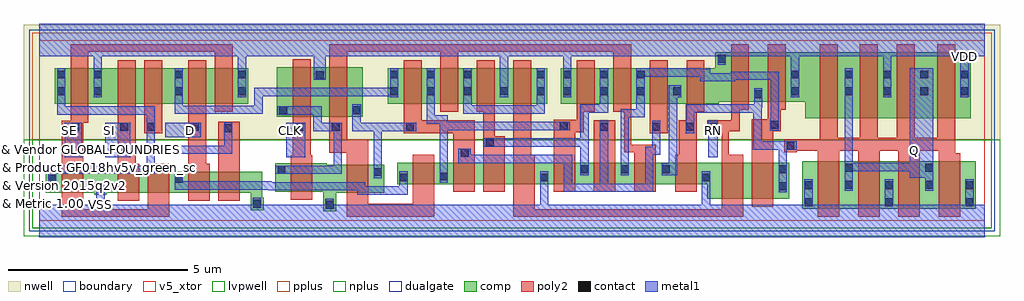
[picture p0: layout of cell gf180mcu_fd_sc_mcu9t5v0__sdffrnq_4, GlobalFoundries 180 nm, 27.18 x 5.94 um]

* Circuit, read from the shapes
.subckt gf180mcu_fd_sc_mcu9t5v0__sdffrnq_4 CLK D Q RN SE SI VDD VSS
XM1 VSS SE n1 VSUBS nfet_05v0 w=0.59u l=0.6u
XM2 n2 SI VSS VSUBS nfet_05v0 w=0.59u l=0.6u
XM3 n3 SE n2 VSUBS nfet_05v0 w=0.59u l=0.6u
XM4 n4 D n3 VSUBS nfet_05v0 w=0.59u l=0.6u
XM5 VSS n1 n4 VSUBS nfet_05v0 w=0.59u l=0.6u
XM6 VSS CLK n5 VSUBS nfet_05v0 w=0.79u l=0.6u
XM7 n6 n5 VSS VSUBS nfet_05v0 w=0.79u l=0.6u
XM8 n7 n5 n3 VSUBS nfet_05v0 w=0.59u l=0.6u
XM9 n8 n6 n7 VSUBS nfet_05v0 w=0.59u l=0.6u
XM10 n9 n10 n8 VSUBS nfet_05v0 w=0.59u l=0.6u
XM11 VSS RN n9 VSUBS nfet_05v0 w=0.59u l=0.6u
XM12 n10 n7 VSS VSUBS nfet_05v0 w=0.59u l=0.6u
XM13 n11 n6 n10 VSUBS nfet_05v0 w=0.59u l=0.6u
XM14 n12 n5 n11 VSUBS nfet_05v0 w=0.59u l=0.6u
XM15 VSS n13 n12 VSUBS nfet_05v0 w=0.59u l=0.6u
XM16 n14 RN VSS VSUBS nfet_05v0 w=1u l=0.6u
XM17 n13 n11 n14 VSUBS nfet_05v0 w=1u l=0.6u
XM18 Q n13 VSS VSUBS nfet_05v0 w=1.32u l=0.6u m=4
XM19 VDD SE n1 n15 pfet_05v0 w=1u l=0.5u
XM20 n16 SI VDD n15 pfet_05v0 w=1u l=0.5u
XM21 n17 n1 n16 n15 pfet_05v0 w=1u l=0.5u
XM22 n18 D n17 n15 pfet_05v0 w=1u l=0.5u
XM23 VDD SE n18 n15 pfet_05v0 w=1u l=0.5u
XM24 VDD CLK n5 n15 pfet_05v0 w=1.38u l=0.5u
XM25 n6 n5 VDD n15 pfet_05v0 w=1.38u l=0.5u
XM26 n7 n6 n17 n15 pfet_05v0 w=1u l=0.5u
XM27 n19 n5 n7 n15 pfet_05v0 w=1u l=0.5u
XM28 VDD n10 n19 n15 pfet_05v0 w=1u l=0.5u
XM29 n19 RN VDD n15 pfet_05v0 w=1u l=0.5u
XM30 n10 n7 VDD n15 pfet_05v0 w=1u l=0.5u
XM31 n11 n5 n10 n15 pfet_05v0 w=1u l=0.5u
XM32 n12 n6 n11 n15 pfet_05v0 w=1u l=0.5u
XM33 VDD n13 n12 n15 pfet_05v0 w=1u l=0.5u
XM34 n13 RN VDD n15 pfet_05v0 w=1.38u l=0.5u
XM35 VDD n11 n13 n15 pfet_05v0 w=1.38u l=0.5u
XM36 Q n13 VDD n15 pfet_05v0 w=1.83u l=0.5u m=4
.ends

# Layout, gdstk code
import gdstk
lib = gdstk.Library(unit=1e-6, precision=1e-09)
def R(c, l, rs):  # rectangles x0, y0, x1, y1
    for r in rs: c.add(gdstk.rectangle(r[:2], r[2:], *l))
def A(c, l, x, y, w, h, nx, ny, dx, dy):  # array of equal rectangles
    R(c, l, [(x+i*dx, y+j*dy, x+i*dx+w, y+j*dy+h) for i in range(nx) for j in range(ny)])
def P(c, l, *ps):  # polygons
    for p in ps: c.add(gdstk.Polygon(p, *l))
boundary = (0, 0)
nwell = (21, 0)
comp = (22, 0)
poly2 = (30, 0)
pplus = (31, 0)
nplus = (32, 0)
contact = (33, 0)
metal1 = (34, 0)
dualgate = (55, 0)
v5_xtor = (112, 1)
lvpwell = (204, 0)

gf180mcu_fd_sc_mcu9t5v0_ = lib.new_cell('gf180mcu_fd_sc_mcu9t5v0__sdffrnq_4')
R(gf180mcu_fd_sc_mcu9t5v0_, boundary, [(0,0,26.32,5.04)])
R(gf180mcu_fd_sc_mcu9t5v0_, nwell, [(-0.43,2.265,26.75,5.47)])
R(gf180mcu_fd_sc_mcu9t5v0_, comp, [(21.24,0.34,26.08,1.66), (6.61,2.9,9.01,4.28), (0.425,3.26,5.82,4.26), (9.7,3.26,14.14,4.26)])
P(gf180mcu_fd_sc_mcu9t5v0_, comp, [(5.88,0.295),(5.88,0.78),(1.88,0.78),(1.88,0.73),(1.52,0.73),(1.52,0.78),(0.18,0.78),(0.18,1.37),(6.2,1.37),(6.2,0.65),(6.24,0.65),(6.24,0.295)],
  [(7.9,0.27),(7.9,0.815),(6.56,0.815),(6.56,1.605),(8,1.605),(8,1.57),(9.6,1.57),(9.6,0.78),(8.26,0.78),(8.26,0.27)],
  [(18.6,0.62),(18.6,1.03),(9.96,1.03),(9.96,1.62),(20.88,1.62),(20.88,0.62)],
  [(21.33,2.865),(21.33,3.32),(18.92,3.32),(18.92,3.26),(14.52,3.26),(14.52,4.26),(18.82,4.26),(18.82,4.7),(21.18,4.7),(21.18,4.695),(25.94,4.695),(25.94,2.865)])
R(gf180mcu_fd_sc_mcu9t5v0_, poly2, [(4.98,0.56,5.58,2.76), (15.44,0.81,16.04,2.8), (2.92,2.44,3.42,4.48), (17,2.44,17.5,4.48)])
P(gf180mcu_fd_sc_mcu9t5v0_, poly2, [(2.18,0.56),(2.18,4.48),(2.68,4.48),(2.68,1.59),(2.78,1.59),(2.78,0.56)],
  [(4.14,0.56),(4.14,4.48),(4.64,4.48),(4.64,1.59),(4.74,1.59),(4.74,0.56)],
  [(0.62,0.12),(0.62,2.795),(0.865,2.795),(0.865,4.92),(5.38,4.92),(5.38,3.04),(4.88,3.04),(4.88,4.72),(1.365,4.72),(1.365,2.735),(1.22,2.735),(1.22,0.32),(3.02,0.32),(3.02,1.59),(3.62,1.59),(3.62,0.12)],
  [(7,0.595),(7,1.825),(7.05,1.825),(7.05,4.5),(7.55,4.5),(7.55,1.825),(7.6,1.825),(7.6,0.595)],
  [(11.52,0.81),(11.52,2.44),(10.14,2.44),(10.14,4.48),(10.64,4.48),(10.64,2.8),(12.12,2.8),(12.12,0.81)],
  [(12.36,0.81),(12.36,3.04),(12.18,3.04),(12.18,4.48),(12.68,4.48),(12.68,2.36),(12.96,2.36),(12.96,0.81)],
  [(14.32,0.81),(14.32,2.825),(14.96,2.825),(14.96,4.48),(15.46,4.48),(15.46,3.04),(15.16,3.04),(15.16,2.465),(14.92,2.465),(14.92,0.81)],
  [(8.56,0.12),(8.56,1.9),(8.07,1.9),(8.07,4.92),(16.48,4.92),(16.48,2.12),(17.16,2.12),(17.16,0.81),(16.56,0.81),(16.56,1.92),(16.28,1.92),(16.28,3.04),(15.98,3.04),(15.98,4.72),(11.66,4.72),(11.66,3.04),(11.16,3.04),(11.16,4.72),(8.57,4.72),(8.57,2.26),(9.16,2.26),(9.16,0.48),(10.4,0.48),(10.4,1.84),(11,1.84),(11,0.12)],
  [(17.7,0.81),(17.7,1.84),(17.8,1.84),(17.8,2.8),(18.02,2.8),(18.02,4.48),(18.52,4.48),(18.52,3.04),(18.3,3.04),(18.3,0.81)],
  [(13.2,0.12),(13.2,4.48),(13.7,4.48),(13.7,1.84),(13.8,1.84),(13.8,0.32),(19,0.32),(19,2.44),(18.595,2.44),(18.595,2.8),(19.26,2.8),(19.26,4.92),(19.76,4.92),(19.76,3.1),(19.5,3.1),(19.5,2.5),(19.2,2.5),(19.2,1.84),(19.6,1.84),(19.6,0.12)],
  [(19.84,0.4),(19.84,2.83),(20.28,2.83),(20.28,4.92),(20.78,4.92),(20.78,3.1),(20.64,3.1),(20.64,2.505),(20.44,2.505),(20.44,0.4)],
  [(21.68,0.12),(21.68,1.96),(21.09,1.96),(21.09,1.92),(20.735,1.92),(20.735,2.28),(21.73,2.28),(21.73,4.915),(22.23,4.915),(22.23,2.32),(22.85,2.32),(22.85,4.915),(23.35,4.915),(23.35,2.32),(23.88,2.32),(23.88,4.915),(24.38,4.915),(24.38,2.32),(25,2.32),(25,4.915),(25.5,4.915),(25.5,1.88),(25.64,1.88),(25.64,0.12),(25.04,0.12),(25.04,1.96),(24.52,1.96),(24.52,0.12),(23.92,0.12),(23.92,1.96),(23.4,1.96),(23.4,0.12),(22.8,0.12),(22.8,1.96),(22.28,1.96),(22.28,0.12)])
R(gf180mcu_fd_sc_mcu9t5v0_, pplus, [(-0.2,2.265,26.52,5.24)])
R(gf180mcu_fd_sc_mcu9t5v0_, nplus, [(-0.2,-0.2,26.52,2.265)])
A(gf180mcu_fd_sc_mcu9t5v0_, contact, 21.31, 0.41, 0.22, 0.22, 3, 2, 2.24, 0.47)
A(gf180mcu_fd_sc_mcu9t5v0_, contact, 9.77, 3.5, 0.22, 0.22, 3, 2, 1.02, 0.47)
A(gf180mcu_fd_sc_mcu9t5v0_, contact, 14.59, 3.5, 0.22, 0.22, 4, 1, 1.02, 0)
A(gf180mcu_fd_sc_mcu9t5v0_, contact, 14.59, 3.97, 0.22, 0.22, 3, 1, 1.02, 0)
R(gf180mcu_fd_sc_mcu9t5v0_, contact, [(7.97,0.34,8.19,0.56), (5.95,0.365,6.17,0.585), (1.59,0.8,1.81,1.02), (20.59,0.86,20.81,1.08), (22.43,0.9,22.65,1.12), (24.67,0.9,24.89,1.12), (0.25,1.065,0.47,1.285), (3.77,1.065,3.99,1.285), (10.03,1.1,10.25,1.32), (13.95,1.1,14.17,1.32), (18.45,1.1,18.67,1.32), (11.15,1.13,11.37,1.35), (9.31,1.255,9.53,1.475), (6.63,1.315,6.85,1.535), (15.07,1.33,15.29,1.55), (16.19,1.33,16.41,1.55), (17.33,1.33,17.55,1.55), (20.59,1.33,20.81,1.55), (22.43,1.37,22.65,1.59), (24.67,1.37,24.89,1.59), (11.73,1.79,11.95,2.01), (20.805,1.99,21.025,2.21), (12.43,2.075,12.65,2.295), (5.15,2.47,5.37,2.69), (0.895,2.51,1.115,2.73), (2.25,2.51,2.47,2.73), (2.99,2.51,3.21,2.73), (4.21,2.51,4.43,2.73), (7.12,2.51,7.34,2.73), (8.14,2.51,8.36,2.73), (10.21,2.51,10.43,2.73), (15.61,2.51,15.83,2.73), (17.07,2.51,17.29,2.73), (18.01,2.51,18.23,2.73), (18.665,2.51,18.885,2.73), (14.49,2.535,14.71,2.755), (20.35,2.575,20.57,2.795), (6.68,2.97,6.9,3.19), (8.72,2.97,8.94,3.19), (19.91,3.42,20.13,3.64), (0.495,3.5,0.715,3.72), (1.515,3.5,1.735,3.72), (3.77,3.5,3.99,3.72), (5.53,3.5,5.75,3.72), (13.85,3.5,14.07,3.72), (20.93,3.5,21.15,3.72), (22.43,3.5,22.65,3.72), (23.5,3.5,23.72,3.72), (24.53,3.5,24.75,3.72), (25.65,3.5,25.87,3.72), (12.83,3.51,13.05,3.73), (7.7,3.945,7.92,4.165), (0.495,3.97,0.715,4.19), (1.515,3.97,1.735,4.19), (3.77,3.97,3.99,4.19), (5.53,3.97,5.75,4.19), (13.85,3.97,14.07,4.19), (20.93,3.97,21.15,4.19), (22.43,3.97,22.65,4.19), (23.5,3.97,23.72,4.19), (24.53,3.97,24.75,4.19), (25.65,3.97,25.87,4.19), (18.89,4.41,19.11,4.63)])
R(gf180mcu_fd_sc_mcu9t5v0_, metal1, [(0.71,1.77,1.175,2.735), (1.83,1.77,2.53,2.735), (6.87,1.77,7.4,2.735), (18.63,1.77,18.89,2.79), (3.51,2.33,4.49,2.735)])
P(gf180mcu_fd_sc_mcu9t5v0_, metal1, [(0.245,1.005),(0.245,1.54),(2.985,1.54),(2.985,2.965),(0.49,2.965),(0.49,4.25),(0.72,4.25),(0.72,3.195),(3.215,3.195),(3.215,2.1),(5.145,2.1),(5.145,2.75),(5.375,2.75),(5.375,1.87),(3.215,1.87),(3.215,1.31),(0.475,1.31),(0.475,1.005)],
  [(6.57,1.31),(6.57,1.54),(8.19,1.54),(8.19,2.505),(7.63,2.505),(7.63,2.965),(6.62,2.965),(6.62,3.195),(7.86,3.195),(7.86,2.735),(8.42,2.735),(8.42,1.31)],
  [(3.765,2.98),(3.765,4.25),(3.995,4.25),(3.995,3.21),(5.985,3.21),(5.985,3.71),(9.765,3.71),(9.765,4.25),(9.995,4.25),(9.995,3.44),(9.765,3.44),(9.765,3.48),(6.215,3.48),(6.215,2.98)],
  [(8.855,0.735),(8.855,0.85),(6.36,0.85),(6.36,0.875),(3.765,0.875),(3.765,1.345),(3.995,1.345),(3.995,1.105),(6.465,1.105),(6.465,1.08),(9.08,1.08),(9.08,0.965),(10.025,0.965),(10.025,1.38),(10.255,1.38),(10.255,0.735)],
  [(9.305,1.195),(9.305,2.505),(8.715,2.505),(8.715,3.25),(8.945,3.25),(8.945,2.735),(10.49,2.735),(10.49,2.505),(9.535,2.505),(9.535,1.195)],
  [(11.805,2.99),(11.805,4.25),(12.035,4.25),(12.035,3.22),(13.845,3.22),(13.845,4.25),(14.075,4.25),(14.075,2.99)],
  [(11.145,1.07),(11.145,2.71),(10.785,2.71),(10.785,4.25),(11.015,4.25),(11.015,2.94),(11.37,2.94),(11.37,2.76),(14.77,2.76),(14.77,2.53),(11.375,2.53),(11.375,1.07)],
  [(15.065,1.27),(15.065,2.07),(12.37,2.07),(12.37,2.3),(15.065,2.3),(15.065,3.25),(15.605,3.25),(15.605,4.25),(15.835,4.25),(15.835,3.02),(15.295,3.02),(15.295,1.27)],
  [(14.605,0.81),(14.605,1.61),(11.67,1.61),(11.67,2.015),(12.01,2.015),(12.01,1.84),(14.835,1.84),(14.835,1.04),(15.605,1.04),(15.605,2.79),(15.835,2.79),(15.835,1.04),(16.865,1.04),(16.865,2.07),(17.065,2.07),(17.065,2.79),(17.295,2.79),(17.295,1.84),(17.095,1.84),(17.095,0.81)],
  [(17.325,1.27),(17.325,1.61),(17.525,1.61),(17.525,3.78),(17.875,3.78),(17.875,3.44),(17.755,3.44),(17.755,1.27)],
  [(16.185,1.27),(16.185,3.115),(16.625,3.115),(16.625,4.25),(18.45,4.25),(18.45,4.245),(18.68,4.245),(18.68,4.12),(19.245,4.12),(19.245,4.16),(20.595,4.16),(20.595,2.515),(20.345,2.515),(20.345,2.855),(20.365,2.855),(20.365,3.93),(19.375,3.93),(19.375,3.89),(18.4,3.89),(18.4,4.02),(16.855,4.02),(16.855,2.885),(16.415,2.885),(16.415,1.27)],
  [(20.585,0.8),(20.585,1.985),(19.885,1.985),(19.885,3.02),(18.235,3.02),(18.235,2.45),(18.005,2.45),(18.005,3.25),(19.905,3.25),(19.905,3.7),(20.135,3.7),(20.135,3.155),(20.115,3.155),(20.115,2.215),(21.085,2.215),(21.085,1.985),(20.815,1.985),(20.815,0.8)],
  [(22.425,0.84),(22.425,4.25),(22.655,4.25),(22.655,1.62),(24.23,1.62),(24.23,4.25),(24.895,4.25),(24.895,0.84),(24.665,0.84),(24.665,1.21),(24.23,1.21),(24.23,1.39),(22.655,1.39),(22.655,0.84)],
  [(0,-0.45),(0,0.45),(1.585,0.45),(1.585,1.08),(1.815,1.08),(1.815,0.45),(5.945,0.45),(5.945,0.645),(6.175,0.645),(6.175,0.45),(7.965,0.45),(7.965,0.62),(8.195,0.62),(8.195,0.45),(13.945,0.45),(13.945,1.38),(14.175,1.38),(14.175,0.45),(18.445,0.45),(18.445,1.38),(18.675,1.38),(18.675,0.45),(21.305,0.45),(21.305,1.16),(21.535,1.16),(21.535,0.45),(23.545,0.45),(23.545,1.16),(23.775,1.16),(23.775,0.45),(25.785,0.45),(25.785,1.16),(26.015,1.16),(26.015,0.45),(26.32,0.45),(26.32,-0.45)],
  [(1.51,3.44),(1.51,4.59),(0,4.59),(0,5.49),(26.32,5.49),(26.32,4.59),(25.875,4.59),(25.875,3.44),(25.645,3.44),(25.645,4.59),(23.725,4.59),(23.725,3.44),(23.495,3.44),(23.495,4.59),(21.155,4.59),(21.155,3.44),(20.925,3.44),(20.925,4.59),(19.115,4.59),(19.115,4.35),(18.885,4.35),(18.885,4.59),(14.815,4.59),(14.815,3.44),(14.585,3.44),(14.585,4.59),(13.055,4.59),(13.055,3.45),(12.825,3.45),(12.825,4.59),(7.98,4.59),(7.98,3.94),(7.64,3.94),(7.64,4.59),(5.755,4.59),(5.755,3.44),(5.525,3.44),(5.525,4.59),(1.74,4.59),(1.74,3.44)])
R(gf180mcu_fd_sc_mcu9t5v0_, dualgate, [(-0.28,-0.28,26.6,5.32)])
R(gf180mcu_fd_sc_mcu9t5v0_, v5_xtor, [(0,0,26.32,5.04)])
R(gf180mcu_fd_sc_mcu9t5v0_, lvpwell, [(-0.43,-0.43,26.75,2.265)])
gf180mcu_fd_sc_mcu9t5v0_.add(gdstk.Label('CLK', (7,2.52), layer=34, texttype=10))
gf180mcu_fd_sc_mcu9t5v0_.add(gdstk.Label('D', (4.2,2.52), layer=34, texttype=10))
gf180mcu_fd_sc_mcu9t5v0_.add(gdstk.Label('Q', (24.36,1.96), layer=34, texttype=10))
gf180mcu_fd_sc_mcu9t5v0_.add(gdstk.Label('RN', (18.76,2.52), layer=34, texttype=10))
gf180mcu_fd_sc_mcu9t5v0_.add(gdstk.Label('SE', (0.84,2.52), layer=34, texttype=10))
gf180mcu_fd_sc_mcu9t5v0_.add(gdstk.Label('SI', (1.96,2.52), layer=34, texttype=10))
gf180mcu_fd_sc_mcu9t5v0_.add(gdstk.Label('VDD', (25.76,4.59), layer=34, texttype=10))
gf180mcu_fd_sc_mcu9t5v0_.add(gdstk.Label('VSS', (1.7,0.45), layer=34, texttype=10))
gf180mcu_fd_sc_mcu9t5v0_.add(gdstk.Label('& Vendor GLOBALFOUNDRIES', (0,2), layer=63, texttype=63))
gf180mcu_fd_sc_mcu9t5v0_.add(gdstk.Label('& Product GF018hv5v_green_sc9', (0,1.5), layer=63, texttype=63))
gf180mcu_fd_sc_mcu9t5v0_.add(gdstk.Label('& Version 2015q2v2', (0,1), layer=63, texttype=63))
gf180mcu_fd_sc_mcu9t5v0_.add(gdstk.Label('& Metric 1.00', (0,0.5), layer=63, texttype=63))

lib.write_gds('gf180mcu_fd_sc_mcu9t5v0__sdffrnq_4.gds')
